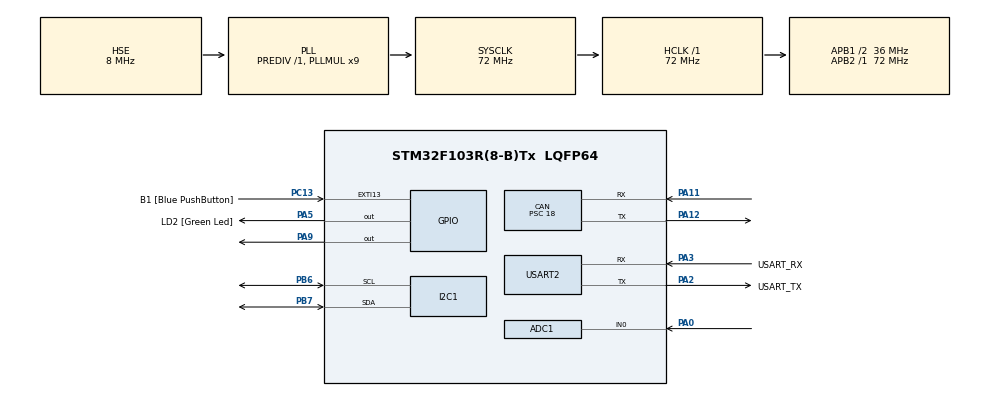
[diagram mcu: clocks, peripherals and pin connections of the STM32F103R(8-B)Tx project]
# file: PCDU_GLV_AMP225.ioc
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ADC1.Channel-0\#ChannelRegularConversion=ADC_CHANNEL_0
ADC1.ContinuousConvMode=ENABLE
ADC1.NbrOfConversion=1
ADC1.NbrOfConversionFlag=1
ADC1.Rank-0\#ChannelRegularConversion=1
ADC1.SamplingTime-0\#ChannelRegularConversion=ADC_SAMPLETIME_239CYCLES_5
ADC1.master=1
CAN.BS1=CAN_BS1_2TQ
CAN.CalculateBaudRate=500000
CAN.CalculateTimeBit=2000
CAN.CalculateTimeQuantum=500.0
CAN.Prescaler=18
Dma.ADC1.0.Direction=DMA_PERIPH_TO_MEMORY
Dma.ADC1.0.Instance=DMA1_Channel1
Dma.ADC1.0.MemDataAlignment=DMA_MDATAALIGN_HALFWORD
Dma.ADC1.0.MemInc=DMA_MINC_DISABLE
Dma.ADC1.0.Mode=DMA_CIRCULAR
Dma.ADC1.0.PeriphDataAlignment=DMA_PDATAALIGN_HALFWORD
Dma.ADC1.0.PeriphInc=DMA_PINC_DISABLE
Dma.ADC1.0.Priority=DMA_PRIORITY_LOW
Dma.Request0=ADC1
Mcu.Family=STM32F1
Mcu.Name=STM32F103R(8-B)Tx
Mcu.Package=LQFP64
NVIC.DMA1_Channel1_IRQn=true\:0\:0\:false\:false\:true\:false\:true\:true
NVIC.EXTI15_10_IRQn=true\:0\:0\:false\:false\:true\:true\:true\:true
NVIC.PriorityGroup=NVIC_PRIORITYGROUP_4
PA0-WKUP.Signal=ADCx_IN0
PA11.Mode=CAN_Activate
PA11.Signal=CAN_RX
PA12.Mode=CAN_Activate
PA12.Signal=CAN_TX
PA13.GPIO_Label=TMS
PA13.Mode=Serial_Wire
PA13.Signal=SYS_JTMS-SWDIO
PA14.GPIO_Label=TCK
PA14.Mode=Serial_Wire
PA14.Signal=SYS_JTCK-SWCLK
PA2.GPIO_Label=USART_TX
PA2.GPIO_Mode=GPIO_MODE_AF_PP
PA2.GPIO_PuPd=GPIO_NOPULL
PA2.GPIO_Speed=GPIO_SPEED_FREQ_LOW
PA2.Mode=Asynchronous
PA2.Signal=USART2_TX
PA3.GPIO_Label=USART_RX
PA3.GPIO_Mode=GPIO_MODE_AF_PP
PA3.GPIO_PuPd=GPIO_NOPULL
PA3.GPIO_Speed=GPIO_SPEED_FREQ_LOW
PA3.Mode=Asynchronous
PA3.Signal=USART2_RX
PA5.GPIO_Label=LD2 [Green Led]
PA5.GPIO_ModeDefaultOutputPP=GPIO_MODE_OUTPUT_PP
PA5.GPIO_PuPd=GPIO_NOPULL
PA5.GPIO_Speed=GPIO_SPEED_FREQ_LOW
PA5.Signal=GPIO_Output
PA9.GPIO_PuPd=GPIO_PULLDOWN
PA9.Signal=GPIO_Output
PB3.GPIO_Label=SWO
PB3.Signal=SYS_JTDO-TRACESWO
PB6.Mode=I2C
PB6.Signal=I2C1_SCL
PB7.Mode=I2C
PB7.Signal=I2C1_SDA
PC13-TAMPER-RTC.GPIO_Label=B1 [Blue PushButton]
PC13-TAMPER-RTC.GPIO_PuPd=GPIO_NOPULL
PC13-TAMPER-RTC.Signal=GPXTI13
PC14-OSC32_IN.Mode=LSE-External-Oscillator
PC14-OSC32_IN.Signal=RCC_OSC32_IN
PC15-OSC32_OUT.Mode=LSE-External-Oscillator
PC15-OSC32_OUT.Signal=RCC_OSC32_OUT
PD0-OSC_IN.Mode=HSE-External-Clock-Source
PD0-OSC_IN.Signal=RCC_OSC_IN
PD1-OSC_OUT.Mode=HSE-External-Clock-Source
PD1-OSC_OUT.Signal=RCC_OSC_OUT
ProjectManager.HeapSize=0x200
ProjectManager.StackSize=0x400
ProjectManager.TargetToolchain=STM32CubeIDE
RCC.ADCPresc=RCC_ADCPCLK2_DIV6
RCC.AHBFreq_Value=72000000
RCC.APB1CLKDivider=RCC_HCLK_DIV2
RCC.APB1Freq_Value=36000000
RCC.APB1TimFreq_Value=72000000
RCC.APB2Freq_Value=72000000
RCC.APB2TimFreq_Value=72000000
RCC.HCLKFreq_Value=72000000
RCC.PLLMUL=RCC_PLL_MUL9
RCC.PLLSourceVirtual=RCC_PLLSOURCE_HSE
RCC.RTCClockSelection=RCC_RTCCLKSOURCE_LSE
RCC.SYSCLKFreq_VALUE=72000000
RCC.SYSCLKSource=RCC_SYSCLKSOURCE_PLLCLK
RCC.USBFreq_Value=72000000
SH.ADCx_IN0.0=ADC1_IN0,IN0
TIM3.Prescaler=0
USART2.VirtualMode=VM_ASYNC
VP_TIM3_VS_ClockSourceITR.Mode=TriggerSource_ITR0
VP_TIM3_VS_ControllerModeClock.Mode=Clock Mode
board=NUCLEO-F103RB

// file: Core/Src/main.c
/* USER CODE BEGIN Header */
/**
  ******************************************************************************
  * @file           : main.c
  * @brief          : Main program body
  ******************************************************************************
  * @attention
  *
  * Copyright (c) 2025 STMicroelectronics.
  * All rights reserved.
  *
  * This software is licensed under terms that can be found in the LICENSE file
  * in the root directory of this software component.
  * If no LICENSE file comes with this software, it is provided AS-IS.
  *
  ******************************************************************************
  */
/* USER CODE END Header */
#include "main.h"
/* USER CODE BEGIN Includes */
#include "Anglas_INA226.h"
#include <string.h>
/* USER CODE END Includes */

ADC_HandleTypeDef hadc1;
DMA_HandleTypeDef hdma_adc1;
CAN_HandleTypeDef hcan;
I2C_HandleTypeDef hi2c1;
TIM_HandleTypeDef htim3;
UART_HandleTypeDef huart2;

/* USER CODE BEGIN PV */
int count = 0;
float current,voltage;
float bbVoltage = 0;
int adcFlag = 0;
int canFlag = 0;
CAN_TxHeaderTypeDef txHeader;
uint8_t txData[8];
uint16_t alert,alertLimit;
uint16_t adcBuffer [1];
uint32_t txMailbox;

/* USER CODE END PV */

void SystemClock_Config(void);
static void MX_GPIO_Init(void);
static void MX_DMA_Init(void);
static void MX_USART2_UART_Init(void);
static void MX_ADC1_Init(void);
static void MX_TIM3_Init(void);
static void MX_CAN_Init(void);
static void MX_I2C1_Init(void);
/* USER CODE BEGIN PFP */

float readVoltage(uint16_t adcVal){
	float adcVoltage = (3.3*adcVal)/(4095);
	float voltage = (adcVoltage*15)/3;
	return voltage;
}
void HAL_ADC_ConvCpltCallback(ADC_HandleTypeDef* hadc){
	adcFlag = 1;
}
void HAL_TIM_PeriodElapsedCallback(TIM_HandleTypeDef *htim){
	canFlag = 1;
}
void send_can(void );
void ArmazenateCAN (void);
/* USER CODE END PFP */

int main(void)
{

  /* MCU Configuration--------------------------------------------------------*/

  /* Reset of all peripherals, Initializes the Flash interface and the Systick. */
  HAL_Init();

  /* Configure the system clock */
  SystemClock_Config();

  /* Initialize all configured peripherals */
  MX_GPIO_Init();
  MX_DMA_Init();
  MX_USART2_UART_Init();
  MX_ADC1_Init();
  MX_TIM3_Init();
  MX_CAN_Init();
  MX_I2C1_Init();
  /* USER CODE BEGIN 2 */

   HAL_ADC_Start_DMA(&hadc1, (uint32_t*)adcBuffer, 1);
   HAL_TIM_Base_Start_IT(&htim3);

   CAN_FilterTypeDef CanFilterConfig;
   CanFilterConfig.FilterActivation = CAN_FILTER_ENABLE;
   CanFilterConfig.FilterBank = 10;
   CanFilterConfig.FilterFIFOAssignment = CAN_FILTER_FIFO0;
   CanFilterConfig.FilterIdHigh = 0x0000;
   CanFilterConfig.FilterIdLow = 0x0000;
   CanFilterConfig.FilterMaskIdHigh = 0x0000;
   CanFilterConfig.FilterMaskIdLow = 0x0000;
   CanFilterConfig.FilterMode = CAN_FILTERMODE_IDMASK;
   CanFilterConfig.FilterScale = CAN_FILTERSCALE_32BIT;

   HAL_CAN_ConfigFilter(&hcan, &CanFilterConfig);
   HAL_CAN_Start(&hcan);
   /* CAN CONFIGURATION */
  INA226_Init(32.768,2,AVG_4,T_Vbus_1_1ms,T_Vshunt_1_1ms,MODE_SHUNT_BUS_CONTINUOUS);

  alert = INA226_Mode_pinAlert(SHUNT_VOLTAGE_OVER);
  alertLimit = INA226_Alert_Limit(401);             //ativa o pino alerta

  /* USER CODE END 2 */

  /* Infinite loop */
  while (1)
  {

    /* USER CODE BEGIN 3 */
	  if(adcFlag == 1){
	  		  bbVoltage = readVoltage(adcBuffer[0]);
	  		  adcFlag = 0;

	  	  }
     if (canFlag == 1){
    	 send_can();
    	 canFlag = 0;
     }
     if(count >= 1000){
    	 count = 0;
     }
     count++;

	  voltage = INA226_Vbus();
	  current = (INA226_Current()/1000); // lê em miliA, daí divido por 1000 pra A

	 if(voltage > 14||bbVoltage < 11||current>20){
		 HAL_GPIO_WritePin(GPIOA, GPIO_PIN_9, SET); // caso uma das situações ocorra, aciona o shutdown do glv
	 }
  }
  /* USER CODE END 3 */
}

void SystemClock_Config(void)
{
  RCC_OscInitTypeDef RCC_OscInitStruct = {0};
  RCC_ClkInitTypeDef RCC_ClkInitStruct = {0};
  RCC_PeriphCLKInitTypeDef PeriphClkInit = {0};

  /** Initializes the RCC Oscillators according to the specified parameters
  * in the RCC_OscInitTypeDef structure.
  */
  RCC_OscInitStruct.OscillatorType = RCC_OSCILLATORTYPE_HSE;
  RCC_OscInitStruct.HSEState = RCC_HSE_BYPASS;
  RCC_OscInitStruct.HSEPredivValue = RCC_HSE_PREDIV_DIV1;
  RCC_OscInitStruct.HSIState = RCC_HSI_ON;
  RCC_OscInitStruct.PLL.PLLState = RCC_PLL_ON;
  RCC_OscInitStruct.PLL.PLLSource = RCC_PLLSOURCE_HSE;
  RCC_OscInitStruct.PLL.PLLMUL = RCC_PLL_MUL9;
  if (HAL_RCC_OscConfig(&RCC_OscInitStruct) != HAL_OK)
  {
    Error_Handler();
  }

  /** Initializes the CPU, AHB and APB buses clocks
  */
  RCC_ClkInitStruct.ClockType = RCC_CLOCKTYPE_HCLK|RCC_CLOCKTYPE_SYSCLK
                              |RCC_CLOCKTYPE_PCLK1|RCC_CLOCKTYPE_PCLK2;
  RCC_ClkInitStruct.SYSCLKSource = RCC_SYSCLKSOURCE_PLLCLK;
  RCC_ClkInitStruct.AHBCLKDivider = RCC_SYSCLK_DIV1;
  RCC_ClkInitStruct.APB1CLKDivider = RCC_HCLK_DIV2;
  RCC_ClkInitStruct.APB2CLKDivider = RCC_HCLK_DIV1;

  if (HAL_RCC_ClockConfig(&RCC_ClkInitStruct, FLASH_LATENCY_2) != HAL_OK)
  {
    Error_Handler();
  }
  PeriphClkInit.PeriphClockSelection = RCC_PERIPHCLK_ADC;
  PeriphClkInit.AdcClockSelection = RCC_ADCPCLK2_DIV6;
  if (HAL_RCCEx_PeriphCLKConfig(&PeriphClkInit) != HAL_OK)
  {
    Error_Handler();
  }
}

static void MX_ADC1_Init(void)
{

  ADC_ChannelConfTypeDef sConfig = {0};

  /** Common config
  */
  hadc1.Instance = ADC1;
  hadc1.Init.ScanConvMode = ADC_SCAN_DISABLE;
  hadc1.Init.ContinuousConvMode = ENABLE;
  hadc1.Init.DiscontinuousConvMode = DISABLE;
  hadc1.Init.ExternalTrigConv = ADC_SOFTWARE_START;
  hadc1.Init.DataAlign = ADC_DATAALIGN_RIGHT;
  hadc1.Init.NbrOfConversion = 1;
  if (HAL_ADC_Init(&hadc1) != HAL_OK)
  {
    Error_Handler();
  }

  /** Configure Regular Channel
  */
  sConfig.Channel = ADC_CHANNEL_0;
  sConfig.Rank = ADC_REGULAR_RANK_1;
  sConfig.SamplingTime = ADC_SAMPLETIME_239CYCLES_5;
  if (HAL_ADC_ConfigChannel(&hadc1, &sConfig) != HAL_OK)
  {
    Error_Handler();
  }

}

static void MX_CAN_Init(void)
{

  hcan.Instance = CAN1;
  hcan.Init.Prescaler = 18;
  hcan.Init.Mode = CAN_MODE_NORMAL;
  hcan.Init.SyncJumpWidth = CAN_SJW_1TQ;
  hcan.Init.TimeSeg1 = CAN_BS1_2TQ;
  hcan.Init.TimeSeg2 = CAN_BS2_1TQ;
  hcan.Init.TimeTriggeredMode = DISABLE;
  hcan.Init.AutoBusOff = DISABLE;
  hcan.Init.AutoWakeUp = DISABLE;
  hcan.Init.AutoRetransmission = DISABLE;
  hcan.Init.ReceiveFifoLocked = DISABLE;
  hcan.Init.TransmitFifoPriority = DISABLE;
  if (HAL_CAN_Init(&hcan) != HAL_OK)
  {
    Error_Handler();
  }

}

static void MX_I2C1_Init(void)
{

  hi2c1.Instance = I2C1;
  hi2c1.Init.ClockSpeed = 100000;
  hi2c1.Init.DutyCycle = I2C_DUTYCYCLE_2;
  hi2c1.Init.OwnAddress1 = 0;
  hi2c1.Init.AddressingMode = I2C_ADDRESSINGMODE_7BIT;
  hi2c1.Init.DualAddressMode = I2C_DUALADDRESS_DISABLE;
  hi2c1.Init.OwnAddress2 = 0;
  hi2c1.Init.GeneralCallMode = I2C_GENERALCALL_DISABLE;
  hi2c1.Init.NoStretchMode = I2C_NOSTRETCH_DISABLE;
  if (HAL_I2C_Init(&hi2c1) != HAL_OK)
  {
    Error_Handler();
  }

}

static void MX_TIM3_Init(void)
{

  TIM_SlaveConfigTypeDef sSlaveConfig = {0};
  TIM_MasterConfigTypeDef sMasterConfig = {0};

  htim3.Instance = TIM3;
  htim3.Init.Prescaler = 719;
  htim3.Init.CounterMode = TIM_COUNTERMODE_UP;
  htim3.Init.Period = 1999;
  htim3.Init.ClockDivision = TIM_CLOCKDIVISION_DIV1;
  htim3.Init.AutoReloadPreload = TIM_AUTORELOAD_PRELOAD_DISABLE;
  if (HAL_TIM_Base_Init(&htim3) != HAL_OK)
  {
    Error_Handler();
  }
  if (HAL_TIM_SlaveConfigSynchro(&htim3, &sSlaveConfig) != HAL_OK)
  {
    Error_Handler();
  }
  sMasterConfig.MasterOutputTrigger = TIM_TRGO_RESET;
  sMasterConfig.MasterSlaveMode = TIM_MASTERSLAVEMODE_DISABLE;
  if (HAL_TIMEx_MasterConfigSynchronization(&htim3, &sMasterConfig) != HAL_OK)
  {
    Error_Handler();
  }

}

static void MX_USART2_UART_Init(void)
{

  huart2.Instance = USART2;
  huart2.Init.BaudRate = 115200;
  huart2.Init.WordLength = UART_WORDLENGTH_8B;
  huart2.Init.StopBits = UART_STOPBITS_1;
  huart2.Init.Parity = UART_PARITY_NONE;
  huart2.Init.Mode = UART_MODE_TX_RX;
  huart2.Init.HwFlowCtl = UART_HWCONTROL_NONE;
  huart2.Init.OverSampling = UART_OVERSAMPLING_16;
  if (HAL_UART_Init(&huart2) != HAL_OK)
  {
    Error_Handler();
  }

}

static void MX_DMA_Init(void)
{

  /* DMA controller clock enable */
  __HAL_RCC_DMA1_CLK_ENABLE();

  /* DMA interrupt init */
  /* DMA1_Channel1_IRQn interrupt configuration */
  HAL_NVIC_SetPriority(DMA1_Channel1_IRQn, 0, 0);
  HAL_NVIC_EnableIRQ(DMA1_Channel1_IRQn);

}

static void MX_GPIO_Init(void)
{
  GPIO_InitTypeDef GPIO_InitStruct = {0};

  /* GPIO Ports Clock Enable */
  __HAL_RCC_GPIOC_CLK_ENABLE();
  __HAL_RCC_GPIOD_CLK_ENABLE();
  __HAL_RCC_GPIOA_CLK_ENABLE();
  __HAL_RCC_GPIOB_CLK_ENABLE();

  /*Configure GPIO pin Output Level */
  HAL_GPIO_WritePin(GPIOA, LD2_Pin|GPIO_PIN_9, GPIO_PIN_RESET);

  /*Configure GPIO pin : B1_Pin */
  GPIO_InitStruct.Pin = B1_Pin;
  GPIO_InitStruct.Mode = GPIO_MODE_IT_RISING;
  GPIO_InitStruct.Pull = GPIO_NOPULL;
  HAL_GPIO_Init(B1_GPIO_Port, &GPIO_InitStruct);

  /*Configure GPIO pin : LD2_Pin */
  GPIO_InitStruct.Pin = LD2_Pin;
  GPIO_InitStruct.Mode = GPIO_MODE_OUTPUT_PP;
  GPIO_InitStruct.Pull = GPIO_NOPULL;
  GPIO_InitStruct.Speed = GPIO_SPEED_FREQ_LOW;
  HAL_GPIO_Init(LD2_GPIO_Port, &GPIO_InitStruct);

  /*Configure GPIO pin : PA9 */
  GPIO_InitStruct.Pin = GPIO_PIN_9;
  GPIO_InitStruct.Mode = GPIO_MODE_OUTPUT_PP;
  GPIO_InitStruct.Pull = GPIO_PULLDOWN;
  GPIO_InitStruct.Speed = GPIO_SPEED_FREQ_LOW;
  HAL_GPIO_Init(GPIOA, &GPIO_InitStruct);

  /* EXTI interrupt init*/
  HAL_NVIC_SetPriority(EXTI15_10_IRQn, 0, 0);
  HAL_NVIC_EnableIRQ(EXTI15_10_IRQn);

}

/* USER CODE BEGIN 4 */
void send_can(void ){
	txHeader.StdId = 0x380;
	txHeader.DLC = 8;
	txHeader.ExtId = 0;
	txHeader.IDE = CAN_ID_STD;
	txHeader.RTR = CAN_RTR_DATA;

	memcpy(&txData[0],&current, sizeof(float));
	memcpy(&txData[4],&voltage, sizeof(float));

	HAL_CAN_AddTxMessage(&hcan, &txHeader, txData, &txMailbox);
}
void HAL_CAN_RxFifo0MsgPendingCallback(CAN_HandleTypeDef *hcan)
{
	HAL_CAN_GetRxMessage(hcan, CAN_RX_FIFO0, &RxHeader, RxData);
	ArmazenateCAN();
}
/* USER CODE END 4 */

void Error_Handler(void)
{
  __disable_irq();
  while (1)
  {
  }
}
